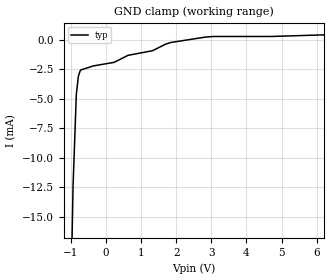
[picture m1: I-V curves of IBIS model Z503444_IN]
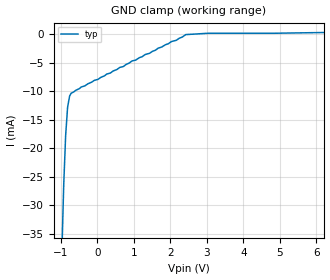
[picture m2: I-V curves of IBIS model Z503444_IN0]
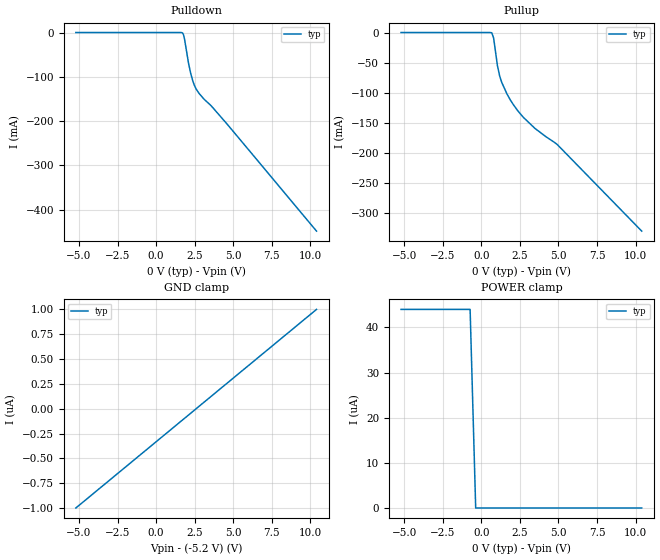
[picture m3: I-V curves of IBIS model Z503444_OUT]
| YOU ARE ONLY AUTHORIZED TO USE THIS SOFTWARE
| ACCORDING TO LICENSOR'S LICENSE RESTRICTIONS.
[IBIS Ver] 3.1
[File Name] mc10h124p.ibs
[File Rev] 2.0
[Source] Measured and created by ICX Technology
[Date] Friday 7/14/00 9:07:50 AM
[Copyright]
| (C) COPYRIGHT 1993-2000
| MENTOR GRAPHICS CORPORATION
| ICX STANDARD LIBRARY, ICX PROJECT MODELING,
| ICX CUSTOM MODELING, ICX VENDOR MODEL
| ALL RIGHTS RESERVED.
| THE FOLLOWING ARE TRADEMARKS OR SERVICE MARKS OF
| MENTOR GRAPHICS CORPORATION:ICX (R), ICX STANDARD
| LIBRARY(R), ICX PROJECT MODELING(R), ICX CUSTOM
| MODELING(R), qualityIBIS(TM), MODELVIEWER(TM),
| AND MODELEDITOR(TM)
| ALL COPIES OF SOFTWARE, INCLUDING BUT NOT LIMITED TO
| ANY MODIFICATIONS, ENHANCEMENTS OR DERIVATIVE WORKS,
| MUST CONTAIN ALL MENTOR GRAPHICS CORPORATION'S
| NOTICES AND LEGENDS, INCLUDING THOSE EMBEDDED IN
| SOFTWARE AND THOSE AFFIXED TO SOFTWARE MEDIUM
| AND CONTAINER, AS RECEIVED FROM MENTOR GRAPHICS
| CORPORATION.
|  ZAP Model Builder 2.7
[Component] MC10H124P
[Manufacturer] OnSemiconductor
[Package]
| variable   typ   min   max
R_pkg  .212ohms NA NA
L_pkg  4.758nH NA NA
C_pkg  1.143pF NA NA
[Pin] signal_name  model_name  R_pin  L_pin C_pin
1 BOUT Z503444_OUT .224 7.258n 1.578p
2 AOUT Z503444_OUT .216 5.258n 1.288p
3 _BOUT Z503444_OUT0 .208 3.758n .998p
4 _AOUT Z503444_OUT0 .2 2.758n .708p
5 AIN Z503444_IN .2 2.758n .708p
6 CS Z503444_IN0 .208 3.758n .998p
7 BIN Z503444_IN .216 5.258n 1.288p
8 VEE POWER .224 7.258n 1.578p
9 VCC POWER .224 7.258n 1.578p
10 CIN Z503444_IN .216 5.258n 1.288p
11 DIN Z503444_IN .208 3.758n .998p
12 _COUT Z503444_OUT0 .2 2.758n .708p
13 _DOUT Z503444_OUT0 .2 2.758n .708p
14 DOUT Z503444_OUT .208 3.758n .998p
15 COUT Z503444_OUT .216 5.258n 1.288p
16 GROUND GND .224 7.258n 1.578p
| Models and submodels in the file (4): Z503444_IN (Input), Z503444_IN0 (Input), Z503444_OUT (Output_ECL), Z503444_OUT0 (Output_ECL)
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| (C) COPYRIGHT 1993-2000
| MENTOR GRAPHICS CORPORATION
| ICX STANDARD LIBRARY, ICX PROJECT MODELING,
| ICX CUSTOM MODELING, ICX VENDOR MODEL
| ALL RIGHTS RESERVED.
| THE FOLLOWING ARE TRADEMARKS OR SERVICE MARKS OF
| MENTOR GRAPHICS CORPORATION:ICX (R), ICX STANDARD
| LIBRARY(R), ICX PROJECT MODELING(R), ICX CUSTOM
| MODELING(R), qualityIBIS(TM), MODELVIEWER(TM),
| AND MODELEDITOR(TM)
| ALL COPIES OF SOFTWARE, INCLUDING BUT NOT LIMITED TO
| ANY MODIFICATIONS, ENHANCEMENTS OR DERIVATIVE WORKS,
| MUST CONTAIN ALL MENTOR GRAPHICS CORPORATION'S
| NOTICES AND LEGENDS, INCLUDING THOSE EMBEDDED IN
| SOFTWARE AND THOSE AFFIXED TO SOFTWARE MEDIUM
| AND CONTAINER, AS RECEIVED FROM MENTOR GRAPHICS
| CORPORATION.
| Model Application Version 1.89 2/18/99.
[Model] Z503444_IN
Model_type Input
Vinl = 800.0mV
Vinh = 2.000V
C_comp 4.000pF NA NA
| variable typ   min   max
[Voltage Range] 5.000V NA NA
[GND Clamp Reference] 0.000V NA NA
[POWER Clamp Reference] 5.000V NA NA
[GND Clamp]
-5V       -1.285A    NA         NA
-1.055V   -30.94mA   NA         NA
-937.5mV  -12.43mA   NA         NA
-844.4mV  -4.665mA   NA         NA
-786.1mV  -3.11mA    NA         NA
-727.9mV  -2.589mA   NA         NA
229.8mV   -1.932mA   NA         NA
629.5mV   -1.335mA   NA         NA
1.326V    -943.8uA   NA         NA
1.846V    -247.9uA   NA         NA
2.838V    212.8uA    NA         NA
10V       746.3uA    NA         NA
[POWER Clamp]
-5V       0A         NA         NA
10V       0A         NA         NA
| (C) COPYRIGHT 1993-2000
| MENTOR GRAPHICS CORPORATION
| ICX STANDARD LIBRARY, ICX PROJECT MODELING,
| ICX CUSTOM MODELING, ICX VENDOR MODEL
| ALL RIGHTS RESERVED.
| THE FOLLOWING ARE TRADEMARKS OR SERVICE MARKS OF
| MENTOR GRAPHICS CORPORATION:ICX (R), ICX STANDARD
| LIBRARY(R), ICX PROJECT MODELING(R), ICX CUSTOM
| MODELING(R), qualityIBIS(TM), MODELVIEWER(TM),
| AND MODELEDITOR(TM)
| ALL COPIES OF SOFTWARE, INCLUDING BUT NOT LIMITED TO
| ANY MODIFICATIONS, ENHANCEMENTS OR DERIVATIVE WORKS,
| MUST CONTAIN ALL MENTOR GRAPHICS CORPORATION'S
| NOTICES AND LEGENDS, INCLUDING THOSE EMBEDDED IN
| SOFTWARE AND THOSE AFFIXED TO SOFTWARE MEDIUM
| AND CONTAINER, AS RECEIVED FROM MENTOR GRAPHICS
| CORPORATION.
| Model Application Version 1.89 2/18/99.
[Model] Z503444_IN0
Model_type Input
Vinl = 800.0mV
Vinh = 2.000V
C_comp 4.000pF NA NA
| variable typ   min   max
[Voltage Range] 5.000V NA NA
[GND Clamp Reference] 0.000V NA NA
[POWER Clamp Reference] 5.000V NA NA
[GND Clamp]
-5V       -1.579A    NA         NA
-1.015V   -48.65mA   NA         NA
-921.2mV  -26.48mA   NA         NA
-868.5mV  -17.78mA   NA         NA
-815mV    -12.77mA   NA         NA
-759.4mV  -10.81mA   NA         NA
-719.8mV  -10.32mA   NA         NA
947.9mV   -4.649mA   NA         NA
2.027V    -1.246mA   NA         NA
2.163V    -1.017mA   NA         NA
2.421V    -21.75uA   NA         NA
10V       710.5uA    NA         NA
[POWER Clamp]
-5V       0A         NA         NA
10V       0A         NA         NA
| (C) COPYRIGHT 1993-2000
| MENTOR GRAPHICS CORPORATION
| ICX STANDARD LIBRARY, ICX PROJECT MODELING,
| ICX CUSTOM MODELING, ICX VENDOR MODEL
| ALL RIGHTS RESERVED.
| THE FOLLOWING ARE TRADEMARKS OR SERVICE MARKS OF
| MENTOR GRAPHICS CORPORATION:ICX (R), ICX STANDARD
| LIBRARY(R), ICX PROJECT MODELING(R), ICX CUSTOM
| MODELING(R), qualityIBIS(TM), MODELVIEWER(TM),
| AND MODELEDITOR(TM)
| ALL COPIES OF SOFTWARE, INCLUDING BUT NOT LIMITED TO
| ANY MODIFICATIONS, ENHANCEMENTS OR DERIVATIVE WORKS,
| MUST CONTAIN ALL MENTOR GRAPHICS CORPORATION'S
| NOTICES AND LEGENDS, INCLUDING THOSE EMBEDDED IN
| SOFTWARE AND THOSE AFFIXED TO SOFTWARE MEDIUM
| AND CONTAINER, AS RECEIVED FROM MENTOR GRAPHICS
| CORPORATION.
| Model Application Version 1.89 2/18/99.
[Model] Z503444_OUT
Model_type Output_ECL
Vref=-2.000V
Rref=50.00ohms
Cref=0.000F
Vmeas=-1.305V
C_comp 8.000pF NA NA
| variable typ   min   max
[Voltage Range] -5.200V NA NA
[POWER Clamp Reference] 0.000V NA NA
[Pullup Reference] 0.000V NA NA
[Pulldown Reference] 0.000V NA NA
[GND Clamp Reference] -5.200V NA NA
[GND Clamp]
-5.2V     -1uA       NA         NA
10.4V     1uA        NA         NA
[Pulldown]
-5.2V     203.3uA    NA         NA
1.724V    -1.199mA   NA         NA
1.782V    -5.328mA   NA         NA
1.85V     -15.8mA    NA         NA
2.106V    -69.79mA   NA         NA
2.243V    -91.99mA   NA         NA
2.474V    -118.4mA   NA         NA
2.587V    -127mA     NA         NA
2.775V    -137mA     NA         NA
3.619V    -167.3mA   NA         NA
4.634V    -208mA     NA         NA
10.4V     -448.7mA   NA         NA
[Pullup]
-5.2V     173.7uA    NA         NA
686.7mV   -602.6uA   NA         NA
800.5mV   -9.04mA    NA         NA
1.046V    -54.57mA   NA         NA
1.188V    -71.81mA   NA         NA
1.318V    -82.18mA   NA         NA
1.655V    -101.5mA   NA         NA
1.886V    -112.1mA   NA         NA
2.363V    -129.9mA   NA         NA
3.487V    -159.5mA   NA         NA
4.939V    -186.5mA   NA         NA
10.4V     -330.2mA   NA         NA
[POWER Clamp]
-5.2V     44uA       NA         NA
-723mV    44uA       NA         NA
-361.5mV  0A         NA         NA
10.4V     0A         NA         NA
[Ramp]
| variable typ min max
dV/dt_r 538.9m/1.551n NA NA
dV/dt_f 538.9m/1.651n NA NA
R_load = 50.00Ohms
